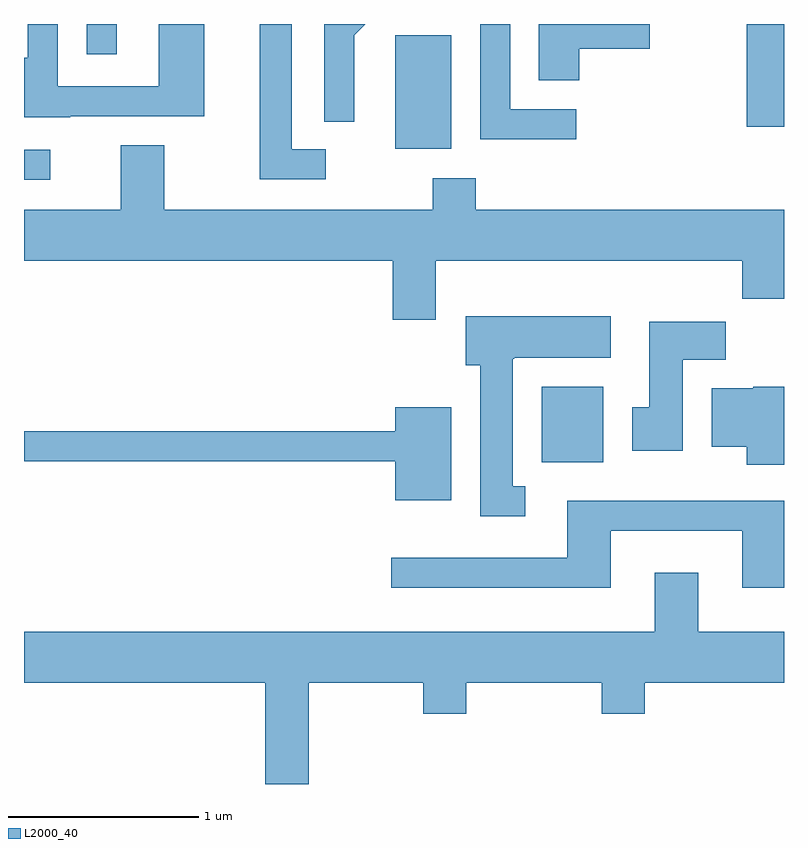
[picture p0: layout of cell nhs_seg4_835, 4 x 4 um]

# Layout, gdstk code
import gdstk
lib = gdstk.Library(unit=1e-6, precision=1e-09)
def R(c, l, rs):  # rectangles x0, y0, x1, y1
    for r in rs: c.add(gdstk.rectangle(r[:2], r[2:], *l))
def P(c, l, *ps):  # polygons
    for p in ps: c.add(gdstk.Polygon(p, *l))
L2000_40 = (2000, 40)

nhs_seg4_835 = lib.new_cell('nhs_seg4_835')
R(nhs_seg4_835, L2000_40, [(212.336,1293.676,212.659,1294.074), (209.611,1295.161,209.748,1295.319), (211.566,1295.326,211.859,1295.924), (213.416,1295.441,213.611,1295.982), (209.941,1295.823,210.099,1295.982)])
P(nhs_seg4_835, L2000_40, [(209.855,1295.496),(210.559,1295.496),(210.559,1295.982),(210.321,1295.982),(210.321,1295.654),(209.789,1295.654),(209.789,1295.982),(209.631,1295.982),(209.631,1295.804),(209.611,1295.804),(209.611,1295.491),(209.855,1295.491)],
  [(212.518,1295.534),(212.169,1295.534),(212.169,1295.982),(212.011,1295.982),(212.011,1295.376),(212.518,1295.376)],
  [(212.534,1295.851),(212.904,1295.851),(212.904,1295.982),(212.321,1295.982),(212.321,1295.686),(212.534,1295.686)],
  [(211.349,1295.924),(211.407,1295.982),(211.191,1295.982),(211.191,1295.468),(211.349,1295.468)],
  [(211.198,1295.324),(211.019,1295.324),(211.019,1295.982),(210.851,1295.982),(210.851,1295.166),(211.198,1295.166)],
  [(211.779,1294.736),(213.391,1294.736),(213.391,1294.536),(213.611,1294.536),(213.611,1295.004),(211.989,1295.004),(211.989,1295.169),(211.761,1295.169),(211.761,1295.004),(210.349,1295.004),(210.349,1295.344),(210.121,1295.344),(210.121,1295.004),(209.611,1295.004),(209.611,1294.736),(211.551,1294.736),(211.551,1294.426),(211.779,1294.426)],
  [(212.248,1293.549),(212.184,1293.549),(212.184,1294.22),(212.19,1294.22),(212.19,1294.226),(212.699,1294.226),(212.699,1294.444),(211.936,1294.444),(211.936,1294.186),(212.011,1294.186),(212.011,1293.391),(212.248,1293.391)],
  [(213.079,1294.216),(213.304,1294.216),(213.304,1294.414),(212.901,1294.414),(212.901,1293.964),(212.811,1293.964),(212.811,1293.736),(213.079,1293.736)],
  [(213.611,1294.074),(213.45,1294.074),(213.45,1294.064),(213.231,1294.064),(213.231,1293.756),(213.416,1293.756),(213.416,1293.661),(213.611,1293.661)],
  [(211.859,1293.964),(211.566,1293.964),(211.566,1293.839),(209.611,1293.839),(209.611,1293.681),(211.566,1293.681),(211.566,1293.476),(211.859,1293.476)],
  [(212.699,1293.316),(213.391,1293.316),(213.391,1293.016),(213.611,1293.016),(213.611,1293.474),(212.471,1293.474),(212.471,1293.174),(211.543,1293.174),(211.543,1293.016),(212.699,1293.016)],
  [(211.109,1292.516),(211.711,1292.516),(211.711,1292.351),(211.939,1292.351),(211.939,1292.516),(212.651,1292.516),(212.651,1292.351),(212.879,1292.351),(212.879,1292.516),(213.611,1292.516),(213.611,1292.784),(213.159,1292.784),(213.159,1293.094),(212.931,1293.094),(212.931,1292.784),(209.611,1292.784),(209.611,1292.516),(210.881,1292.516),(210.881,1291.982),(211.109,1291.982)])

lib.write_gds('nhs_seg4_835.gds')
